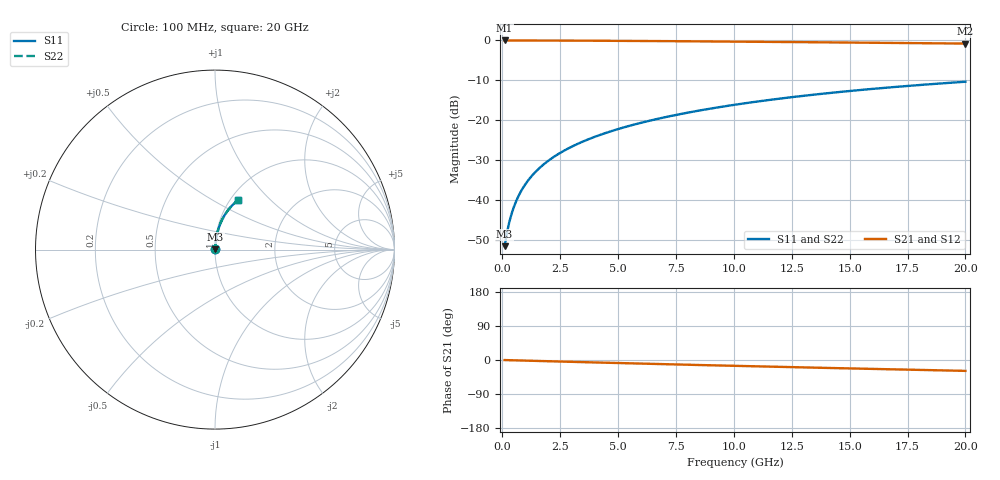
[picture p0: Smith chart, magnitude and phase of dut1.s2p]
! Touchstone file exported from HFSS 2024.1.0
!  File:  C:/UserFiles/LocalFiles/RDL_TSV_Batchsim/temp_RDL_bottom_1_1778690817.aedt
!  Generated:  12:49:27 AM May 14, 2026
!  Design:  RDL_bottom
!  Project:  temp_RDL_bottom_1_1778690817
!  Setup:  Setup1
!  Solution:  Sweep
! Variables:
!  dtsv = 10.80580581um
!  hbump = 3um
!  htsv = 74.27um
!  ldown = 400.65um
!  lrdl = 100um
!  p = 40
!  p1 = 41.05um
!  rhole = 1um
!  t = 450um
!  tdown = 4.9um
!  trdl = 3.915915916um
!  wdown = 15.01um
!  wrdl = 20um
# GHz S MA R 50.000000
! Terminal data exported
! Port[1] = RDL1_T1
! Port[2] = RDL1_T2
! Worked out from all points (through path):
!   200 points, 100 MHz to 20 GHz, reference 50 ohm
!   highest |S21| = -0.02 dB at 100 MHz (marker M1); lowest = -0.8 dB at 20 GHz (marker M2)
!   group delay of S21, straight-line fit = 3.97 ps
!   lowest |S11| = -51.6 dB at 100 MHz (marker M3), VSWR 1.01, Z = 50.2 + j0.165 ohm
!   |S11| at or under -10 dB: start of sweep to end of sweep
!   |S22| runs from -51.6 to -10.4 dB; largest |S21 - S12| = 3.5e-15
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0.1  0.002618 38.8  0.998 -0.2  0.998 -0.2  0.002618 38.8
! Gamma 0 0 0 0
! Port Impedance 50 0 50 0
0.2  0.003839 56.5  0.9979 -0.3  0.9979 -0.3  0.003839 56.5
0.3  0.005213 65.4  0.9978 -0.5  0.9978 -0.5  0.005213 65.4
0.4  0.006655 70.6  0.9977 -0.7  0.9977 -0.7  0.006655 70.6
0.5  0.008134 73.9  0.9976 -0.8  0.9976 -0.8  0.008134 73.9
0.6  0.009635 76.2  0.9975 -1.0  0.9975 -1.0  0.009635 76.2
0.8  0.01267 79.1  0.9973 -1.3  0.9973 -1.3  0.01267 79.1
1.1  0.01726 81.3  0.997 -1.8  0.997 -1.8  0.01726 81.3
1.3  0.02034 82.2  0.9967 -2.1  0.9967 -2.1  0.02034 82.2
1.5  0.02341 82.7  0.9965 -2.5  0.9965 -2.5  0.02341 82.7
1.8  0.02802 83.3  0.996 -2.9  0.996 -2.9  0.02802 83.3
2.1  0.03263 83.5  0.9954 -3.4  0.9954 -3.4  0.03263 83.5
2.7  0.04183 83.7  0.9941 -4.4  0.9941 -4.4  0.04183 83.7
3.5  0.05409 83.6  0.992 -5.7  0.992 -5.7  0.05409 83.6
4.2  0.06483 83.3  0.9898 -6.8  0.9898 -6.8  0.06483 83.3
5  0.07715 82.8  0.987 -8.0  0.987 -8.0  0.07715 82.7
6.8  0.1051 81.3  0.9799 -10.7  0.9799 -10.7  0.1051 81.3
8.4  0.1301 79.7  0.9728 -13.1  0.9728 -13.1  0.1301 79.7
10.1  0.1567 77.8  0.9648 -15.5  0.9648 -15.5  0.1567 77.8
13.4  0.2077 73.7  0.9482 -20.1  0.9482 -20.1  0.2076 73.7
16.7  0.2567 69.4  0.9306 -24.5  0.9306 -24.5  0.2566 69.4
20  0.3028 65.2  0.9121 -28.7  0.9121 -28.7  0.3027 65.2
